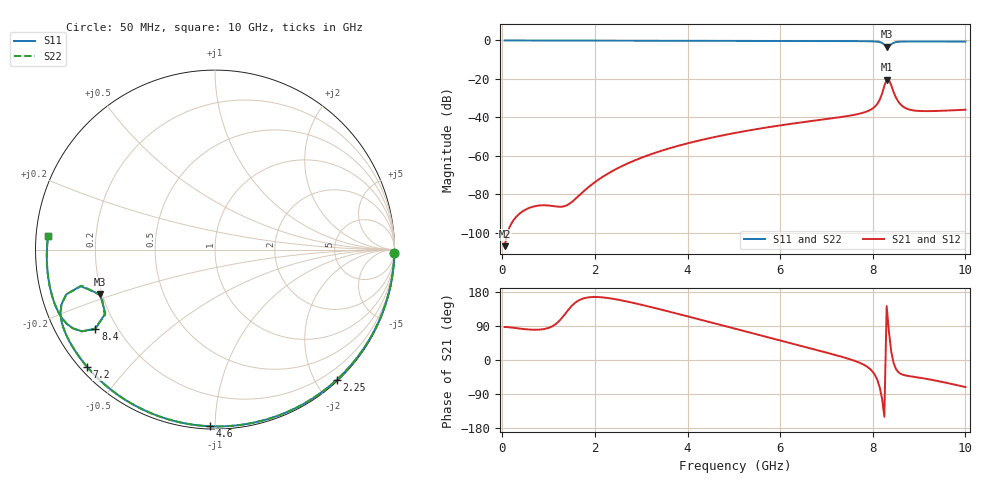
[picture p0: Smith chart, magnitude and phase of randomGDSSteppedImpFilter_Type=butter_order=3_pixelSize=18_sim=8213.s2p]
! freq	dB(S11)	phase(S11)	dB(S12)	phase(S12)
!  dB(S21)	phase(S21)	dB(S22)	phase(S22)
!S-par simulation data
#  GHz  S  DB  R 50
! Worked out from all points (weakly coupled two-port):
!   200 points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, 50 MHz to 10 GHz, reference 50 ohm
!   highest |S21| = -20.36 dB at 8.3 GHz (marker M1); lowest = -106.8 dB at 50 MHz (marker M2)
!   lowest |S11| = -3.3 dB at 8.3 GHz (marker M3), VSWR 5.40, Z = 9.58 - j9.06 ohm
!   |S11| at or under -10 dB: nowhere
!   |S22| runs from -3.3 to 0.0 dB; largest |S21 - S12| = 0
!   S11 on the Smith chart (normalised r, x): 50 MHz: open; 2.25 GHz: 0.02, -2.31; 4.6 GHz: 0.01, -0.97; 7.2 GHz: 0.02, -0.39; 8.4 GHz: 0.12, -0.30; 10 GHz: 0.03, +0.04
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0.05  -0.00 -1.1  -106.85 86.9  -106.85 86.9  -0.00 -1.1
0.85  -0.02 -18.0  -85.63 80.7  -85.63 80.7  -0.02 -18.0
1.65  -0.04 -34.7  -80.71 157.3  -80.71 157.3  -0.04 -34.7
1.75  -0.05 -36.7  -78.50 162.4  -78.50 162.4  -0.05 -36.7
2.25  -0.06 -46.8  -69.59 164.0  -69.59 164.0  -0.06 -46.8
2.75  -0.07 -56.8  -63.42 152.8  -63.42 152.8  -0.07 -56.8
3.4  -0.09 -69.3  -57.57 133.9  -57.57 133.9  -0.09 -69.3
4.6  -0.13 -91.6  -50.09 96.2  -50.09 96.2  -0.13 -91.6
5.05  -0.15 -99.7  -47.93 81.9  -47.93 81.9  -0.15 -99.7
6.7  -0.25 -128.6  -41.76 29.3  -41.76 29.3  -0.25 -128.6
7.2  -0.29 -137.5  -40.16 12.9  -40.16 12.9  -0.29 -137.5
7.75  -0.37 -148.1  -37.82 -9.1  -37.82 -9.1  -0.37 -148.1
8  -0.48 -154.3  -35.29 -31.3  -35.29 -31.3  -0.49 -154.4
8.15  -0.83 -160.3  -30.84 -72.1  -30.84 -72.1  -0.84 -160.4
8.25  -2.20 -164.8  -23.51 -149.5  -23.51 -149.5  -2.30 -164.8
8.3  -3.26 -158.7  -20.36 142.3  -20.36 142.3  -3.32 -157.7
8.35  -3.02 -149.9  -20.51 73.3  -20.51 73.3  -2.92 -149.2
8.4  -1.95 -146.5  -23.36 21.6  -23.36 21.6  -1.87 -146.6
8.55  -0.71 -153.1  -31.74 -31.8  -31.74 -31.8  -0.70 -153.2
8.75  -0.53 -159.3  -35.57 -41.8  -35.57 -41.8  -0.53 -159.3
9.1  -0.51 -167.0  -36.70 -48.4  -36.70 -48.4  -0.51 -167.0
10  -0.60 175.3  -35.99 -71.4  -35.99 -71.4  -0.60 175.3
